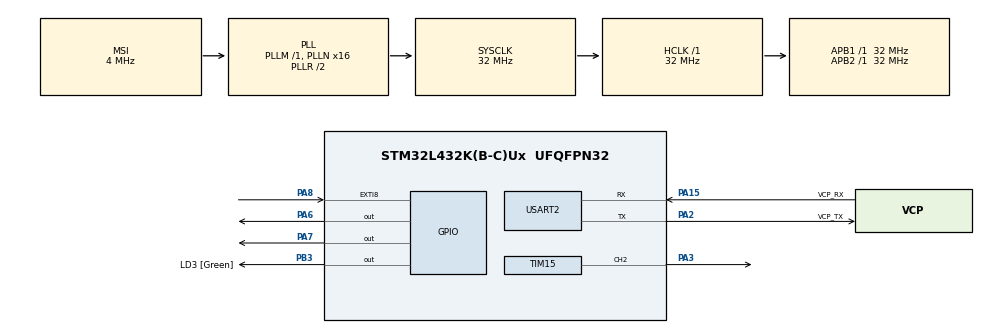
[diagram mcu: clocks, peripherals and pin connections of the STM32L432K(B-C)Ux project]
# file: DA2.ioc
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Mcu.Family=STM32L4
Mcu.Name=STM32L432K(B-C)Ux
Mcu.Package=UFQFPN32
NVIC.EXTI9_5_IRQn=true\:0\:0\:false\:false\:true\:true\:true
NVIC.PriorityGroup=NVIC_PRIORITYGROUP_4
NVIC.TIM2_IRQn=true\:0\:0\:false\:false\:true\:true\:true
PA0.GPIO_Label=MCO [High speed clock in]
PA0.Mode=HSE-External-Clock-Source-for-LittleOrca
PA0.Signal=RCC_CK_IN
PA13\ (JTMS-SWDIO).GPIO_Label=SWDIO
PA13\ (JTMS-SWDIO).Mode=Serial_Wire
PA13\ (JTMS-SWDIO).Signal=SYS_JTMS-SWDIO
PA14\ (JTCK-SWCLK).GPIO_Label=SWCLK
PA14\ (JTCK-SWCLK).Mode=Serial_Wire
PA14\ (JTCK-SWCLK).Signal=SYS_JTCK-SWCLK
PA15\ (JTDI).GPIO_Label=VCP_RX
PA15\ (JTDI).Mode=Asynchronous
PA15\ (JTDI).Signal=USART2_RX
PA2.GPIO_Label=VCP_TX
PA2.Mode=Asynchronous
PA2.Signal=USART2_TX
PA3.Signal=S_TIM15_CH2
PA6.GPIO_PuPd=GPIO_PULLDOWN
PA6.Signal=GPIO_Output
PA7.GPIO_PuPd=GPIO_PULLDOWN
PA7.Signal=GPIO_Output
PA8.GPIO_PuPd=GPIO_PULLDOWN
PA8.Signal=GPXTI8
PB3\ (JTDO-TRACESWO).GPIO_Label=LD3 [Green]
PB3\ (JTDO-TRACESWO).Signal=GPIO_Output
PC14-OSC32_IN\ (PC14).Mode=LSE-External-Oscillator
PC14-OSC32_IN\ (PC14).Signal=RCC_OSC32_IN
PC15-OSC32_OUT\ (PC15).Mode=LSE-External-Oscillator
PC15-OSC32_OUT\ (PC15).Signal=RCC_OSC32_OUT
ProjectManager.HeapSize=0x200
ProjectManager.StackSize=0x400
ProjectManager.TargetToolchain=STM32CubeIDE
RCC.AHBFreq_Value=32000000
RCC.APB1Freq_Value=32000000
RCC.APB1TimFreq_Value=32000000
RCC.APB2Freq_Value=32000000
RCC.APB2TimFreq_Value=32000000
RCC.CortexFreq_Value=32000000
RCC.HCLKFreq_Value=32000000
RCC.HSE_VALUE=8000000
RCC.HSI16_VALUE=16000000
RCC.HSI48_VALUE=48000000
RCC.HSI_VALUE=16000000
RCC.MSI_VALUE=4000000
RCC.PLLMUL=RCC_PLLMUL_4
RCC.PLLN=16
RCC.SYSCLKFreq_VALUE=32000000
RCC.SYSCLKSource=RCC_SYSCLKSOURCE_PLLCLK
RCC.VCOOutputFreq_Value=64000000
SH.S_TIM15_CH2.0=TIM15_CH2,PWM Generation2 CH2
TIM15.Channel-PWM\ Generation2\ CH2=TIM_CHANNEL_2
TIM15.Period=21 - 1
TIM15.Prescaler=32000 - 1
TIM2.Period=1000 - 1
TIM2.Prescaler=4800 - 1
USART2.VirtualMode-Asynchronous=VM_ASYNC
VP_TIM15_VS_ClockSourceINT.Mode=Internal
VP_TIM2_VS_ClockSourceINT.Mode=Internal
board=NUCLEO-L432KC

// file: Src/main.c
/* USER CODE BEGIN Header */
/**
  ******************************************************************************
  * @file           : main.c
  * @brief          : Main program body
  ******************************************************************************
  * @attention
  *
  * <h2><center>&copy; Copyright (c) 2020 STMicroelectronics.
  * All rights reserved.</center></h2>
  *
  * This software component is licensed by ST under BSD 3-Clause license,
  * the "License"; You may not use this file except in compliance with the
  * License. You may obtain a copy of the License at:
  *                        opensource.org/licenses/BSD-3-Clause
  *
  ******************************************************************************
  */
/* USER CODE END Header */

#include "main.h"

TIM_HandleTypeDef htim2;
TIM_HandleTypeDef htim15;

UART_HandleTypeDef huart2;

/* USER CODE BEGIN PV */
volatile uint16_t timer;
/* USER CODE END PV */

void SystemClock_Config(void);
static void MX_GPIO_Init(void);
static void MX_TIM2_Init(void);
static void MX_TIM15_Init(void);
static void MX_USART2_UART_Init(void);
/* USER CODE BEGIN PFP */
void HAL_GPIO_EXTI_Callback(uint16_t GPIO_Pin);
void HAL_TIM_PeriodElapsedCallback(TIM_HandleTypeDef *htim);
/* USER CODE END PFP */

int main(void)
{

  /* MCU Configuration--------------------------------------------------------*/

  /* Reset of all peripherals, Initializes the Flash interface and the Systick. */
   HAL_Init();

  /* Configure the system clock */
  SystemClock_Config();

  /* Initialize all configured peripherals */
  MX_GPIO_Init();
  MX_TIM2_Init();
  MX_TIM15_Init();
  MX_USART2_UART_Init();
  /* USER CODE BEGIN 2 */

  HAL_TIM_PWM_Start(&htim15, TIM_CHANNEL_2);

  /* USER CODE END 2 */

  /* Infinite loop */
  while (1)
  {

  }
}

void SystemClock_Config(void)
{
  RCC_OscInitTypeDef RCC_OscInitStruct = {0};
  RCC_ClkInitTypeDef RCC_ClkInitStruct = {0};
  RCC_PeriphCLKInitTypeDef PeriphClkInit = {0};

  /** Configure LSE Drive Capability
  */
  HAL_PWR_EnableBkUpAccess();
  __HAL_RCC_LSEDRIVE_CONFIG(RCC_LSEDRIVE_LOW);
  /** Initializes the CPU, AHB and APB busses clocks
  */
  RCC_OscInitStruct.OscillatorType = RCC_OSCILLATORTYPE_LSE|RCC_OSCILLATORTYPE_MSI;
  RCC_OscInitStruct.LSEState = RCC_LSE_ON;
  RCC_OscInitStruct.MSIState = RCC_MSI_ON;
  RCC_OscInitStruct.MSICalibrationValue = 0;
  RCC_OscInitStruct.MSIClockRange = RCC_MSIRANGE_6;
  RCC_OscInitStruct.PLL.PLLState = RCC_PLL_ON;
  RCC_OscInitStruct.PLL.PLLSource = RCC_PLLSOURCE_MSI;
  RCC_OscInitStruct.PLL.PLLM = 1;
  RCC_OscInitStruct.PLL.PLLN = 16;
  RCC_OscInitStruct.PLL.PLLP = RCC_PLLP_DIV7;
  RCC_OscInitStruct.PLL.PLLQ = RCC_PLLQ_DIV2;
  RCC_OscInitStruct.PLL.PLLR = RCC_PLLR_DIV2;
  if (HAL_RCC_OscConfig(&RCC_OscInitStruct) != HAL_OK)
  {
    Error_Handler();
  }
  /** Initializes the CPU, AHB and APB busses clocks
  */
  RCC_ClkInitStruct.ClockType = RCC_CLOCKTYPE_HCLK|RCC_CLOCKTYPE_SYSCLK
                              |RCC_CLOCKTYPE_PCLK1|RCC_CLOCKTYPE_PCLK2;
  RCC_ClkInitStruct.SYSCLKSource = RCC_SYSCLKSOURCE_PLLCLK;
  RCC_ClkInitStruct.AHBCLKDivider = RCC_SYSCLK_DIV1;
  RCC_ClkInitStruct.APB1CLKDivider = RCC_HCLK_DIV1;
  RCC_ClkInitStruct.APB2CLKDivider = RCC_HCLK_DIV1;

  if (HAL_RCC_ClockConfig(&RCC_ClkInitStruct, FLASH_LATENCY_1) != HAL_OK)
  {
    Error_Handler();
  }
  PeriphClkInit.PeriphClockSelection = RCC_PERIPHCLK_USART2;
  PeriphClkInit.Usart2ClockSelection = RCC_USART2CLKSOURCE_PCLK1;
  if (HAL_RCCEx_PeriphCLKConfig(&PeriphClkInit) != HAL_OK)
  {
    Error_Handler();
  }
  /** Configure the main internal regulator output voltage
  */
  if (HAL_PWREx_ControlVoltageScaling(PWR_REGULATOR_VOLTAGE_SCALE1) != HAL_OK)
  {
    Error_Handler();
  }
  /** Enable MSI Auto calibration
  */
  HAL_RCCEx_EnableMSIPLLMode();
}

static void MX_TIM2_Init(void)
{

  TIM_ClockConfigTypeDef sClockSourceConfig = {0};
  TIM_MasterConfigTypeDef sMasterConfig = {0};

  htim2.Instance = TIM2;
  htim2.Init.Prescaler = 4800 - 1;
  htim2.Init.CounterMode = TIM_COUNTERMODE_UP;
  htim2.Init.Period = 1000 - 1;
  htim2.Init.ClockDivision = TIM_CLOCKDIVISION_DIV1;
  htim2.Init.AutoReloadPreload = TIM_AUTORELOAD_PRELOAD_DISABLE;
  if (HAL_TIM_Base_Init(&htim2) != HAL_OK)
  {
    Error_Handler();
  }
  sClockSourceConfig.ClockSource = TIM_CLOCKSOURCE_INTERNAL;
  if (HAL_TIM_ConfigClockSource(&htim2, &sClockSourceConfig) != HAL_OK)
  {
    Error_Handler();
  }
  sMasterConfig.MasterOutputTrigger = TIM_TRGO_RESET;
  sMasterConfig.MasterSlaveMode = TIM_MASTERSLAVEMODE_DISABLE;
  if (HAL_TIMEx_MasterConfigSynchronization(&htim2, &sMasterConfig) != HAL_OK)
  {
    Error_Handler();
  }

}

static void MX_TIM15_Init(void)
{

  TIM_ClockConfigTypeDef sClockSourceConfig = {0};
  TIM_MasterConfigTypeDef sMasterConfig = {0};
  TIM_OC_InitTypeDef sConfigOC = {0};
  TIM_BreakDeadTimeConfigTypeDef sBreakDeadTimeConfig = {0};

  htim15.Instance = TIM15;
  htim15.Init.Prescaler = 32000 - 1;
  htim15.Init.CounterMode = TIM_COUNTERMODE_UP;
  htim15.Init.Period = 21 - 1;
  htim15.Init.ClockDivision = TIM_CLOCKDIVISION_DIV1;
  htim15.Init.RepetitionCounter = 0;
  htim15.Init.AutoReloadPreload = TIM_AUTORELOAD_PRELOAD_DISABLE;
  if (HAL_TIM_Base_Init(&htim15) != HAL_OK)
  {
    Error_Handler();
  }
  sClockSourceConfig.ClockSource = TIM_CLOCKSOURCE_INTERNAL;
  if (HAL_TIM_ConfigClockSource(&htim15, &sClockSourceConfig) != HAL_OK)
  {
    Error_Handler();
  }
  if (HAL_TIM_PWM_Init(&htim15) != HAL_OK)
  {
    Error_Handler();
  }
  sMasterConfig.MasterOutputTrigger = TIM_TRGO_RESET;
  sMasterConfig.MasterSlaveMode = TIM_MASTERSLAVEMODE_DISABLE;
  if (HAL_TIMEx_MasterConfigSynchronization(&htim15, &sMasterConfig) != HAL_OK)
  {
    Error_Handler();
  }
  sConfigOC.OCMode = TIM_OCMODE_PWM1;
  sConfigOC.Pulse = 0;
  sConfigOC.OCPolarity = TIM_OCPOLARITY_HIGH;
  sConfigOC.OCNPolarity = TIM_OCNPOLARITY_HIGH;
  sConfigOC.OCFastMode = TIM_OCFAST_DISABLE;
  sConfigOC.OCIdleState = TIM_OCIDLESTATE_RESET;
  sConfigOC.OCNIdleState = TIM_OCNIDLESTATE_RESET;
  if (HAL_TIM_PWM_ConfigChannel(&htim15, &sConfigOC, TIM_CHANNEL_2) != HAL_OK)
  {
    Error_Handler();
  }
  sBreakDeadTimeConfig.OffStateRunMode = TIM_OSSR_DISABLE;
  sBreakDeadTimeConfig.OffStateIDLEMode = TIM_OSSI_DISABLE;
  sBreakDeadTimeConfig.LockLevel = TIM_LOCKLEVEL_OFF;
  sBreakDeadTimeConfig.DeadTime = 0;
  sBreakDeadTimeConfig.BreakState = TIM_BREAK_DISABLE;
  sBreakDeadTimeConfig.BreakPolarity = TIM_BREAKPOLARITY_HIGH;
  sBreakDeadTimeConfig.AutomaticOutput = TIM_AUTOMATICOUTPUT_DISABLE;
  if (HAL_TIMEx_ConfigBreakDeadTime(&htim15, &sBreakDeadTimeConfig) != HAL_OK)
  {
    Error_Handler();
  }
  HAL_TIM_MspPostInit(&htim15);

}

static void MX_USART2_UART_Init(void)
{

  huart2.Instance = USART2;
  huart2.Init.BaudRate = 115200;
  huart2.Init.WordLength = UART_WORDLENGTH_8B;
  huart2.Init.StopBits = UART_STOPBITS_1;
  huart2.Init.Parity = UART_PARITY_NONE;
  huart2.Init.Mode = UART_MODE_TX_RX;
  huart2.Init.HwFlowCtl = UART_HWCONTROL_NONE;
  huart2.Init.OverSampling = UART_OVERSAMPLING_16;
  huart2.Init.OneBitSampling = UART_ONE_BIT_SAMPLE_DISABLE;
  huart2.AdvancedInit.AdvFeatureInit = UART_ADVFEATURE_NO_INIT;
  if (HAL_UART_Init(&huart2) != HAL_OK)
  {
    Error_Handler();
  }

}

static void MX_GPIO_Init(void)
{
  GPIO_InitTypeDef GPIO_InitStruct = {0};

  /* GPIO Ports Clock Enable */
  __HAL_RCC_GPIOC_CLK_ENABLE();
  __HAL_RCC_GPIOA_CLK_ENABLE();
  __HAL_RCC_GPIOB_CLK_ENABLE();

  /*Configure GPIO pin Output Level */
  HAL_GPIO_WritePin(GPIOA, GPIO_PIN_6|GPIO_PIN_7, GPIO_PIN_RESET);

  /*Configure GPIO pin Output Level */
  HAL_GPIO_WritePin(LD3_GPIO_Port, LD3_Pin, GPIO_PIN_RESET);

  /*Configure GPIO pins : PA6 PA7 */
  GPIO_InitStruct.Pin = GPIO_PIN_6|GPIO_PIN_7;
  GPIO_InitStruct.Mode = GPIO_MODE_OUTPUT_PP;
  GPIO_InitStruct.Pull = GPIO_PULLDOWN;
  GPIO_InitStruct.Speed = GPIO_SPEED_FREQ_LOW;
  HAL_GPIO_Init(GPIOA, &GPIO_InitStruct);

  /*Configure GPIO pin : PA8 */
  GPIO_InitStruct.Pin = GPIO_PIN_8;
  GPIO_InitStruct.Mode = GPIO_MODE_IT_RISING;
  GPIO_InitStruct.Pull = GPIO_PULLDOWN;
  HAL_GPIO_Init(GPIOA, &GPIO_InitStruct);

  /*Configure GPIO pin : LD3_Pin */
  GPIO_InitStruct.Pin = LD3_Pin;
  GPIO_InitStruct.Mode = GPIO_MODE_OUTPUT_PP;
  GPIO_InitStruct.Pull = GPIO_NOPULL;
  GPIO_InitStruct.Speed = GPIO_SPEED_FREQ_LOW;
  HAL_GPIO_Init(LD3_GPIO_Port, &GPIO_InitStruct);

  /* EXTI interrupt init*/
  HAL_NVIC_SetPriority(EXTI9_5_IRQn, 0, 0);
  HAL_NVIC_EnableIRQ(EXTI9_5_IRQn);

}

/* USER CODE BEGIN 4 */
void HAL_GPIO_EXTI_Callback(uint16_t GPIO_Pin){ 	/*The ISR function is called when an interrupt is raised by a GPIO pin
													connected to the sensor or the button. This GPIO pin is PA8. */

__HAL_TIM_SetCompare(&htim15, TIM_CHANNEL_2 ,1);	/*This specific function takes the address of timer 15
													and the PWM pulse width is set to 1ms for timer 15 channel 2 (PA3).
													This lifts the arm up.*/

timer = 0;											//Timer is set to 0. This resets the timer after the arm is raised up for 3 seconds.
HAL_TIM_Base_Start_IT(&htim2);}						/*Start timer 2 which raises an interrupt of 150 ms (6.6 Hz). It is set by adjusting the
 	 	 	 	 	 	 	 	 	 	 	 	 	Prescaler and ARR values in the configuration table. Therefore, the need of a delay
 	 	 	 	 	 	 	 	 	 	 	 	 	function or any extra lines has been prevented. Setting the period of the singal to
 	 	 	 	 	 	 	 	 	 	 	 	 	150 ms (half-wavelength of 3 Hz) will allow the GREEN Led to blink at rate of 3 Hz.*/

void HAL_TIM_PeriodElapsedCallback(TIM_HandleTypeDef *htim){ /*When the period of timer 2 elapses, this
															 function is called. This happens repeatedly every
															 150 ms until 3 seconds have elapsed.*/

//The GREEN Led turns on and keeps blinking at 3Hz for 3 seconds as timer 2 calls the function every 150 ms.
timer = timer + 150;										//Timer increments by 150 ms.
HAL_GPIO_WritePin(GPIOA, GPIO_PIN_6, GPIO_PIN_RESET);		//The RED Led is off (reset).
HAL_GPIO_TogglePin(GPIOA, GPIO_PIN_7);						//The GREEN Led is blinking at 3 Hz.

if(htim -> Instance == TIM2 && timer == 3000){			//If 3 seconds have elapsed on timer 2,
HAL_TIM_Base_Stop(&htim2);								//Stop timer 2.
HAL_GPIO_WritePin(GPIOA, GPIO_PIN_7, GPIO_PIN_RESET);	//Turn the GREEN Led off.
HAL_GPIO_WritePin(GPIOA, GPIO_PIN_6, GPIO_PIN_SET);		//Turn the RED Led on.
__HAL_TIM_SetCompare(&htim15, TIM_CHANNEL_2 ,2);}}		/*This specific function takes the address of timer 15
														and the PWM pulse width is set to 2ms for timer 15 channel 2 (PA3).
														This pushes the arm down. */
/* USER CODE END 4 */

void Error_Handler(void)
{
}

/************************ (C) COPYRIGHT STMicroelectronics *****END OF FILE****/
